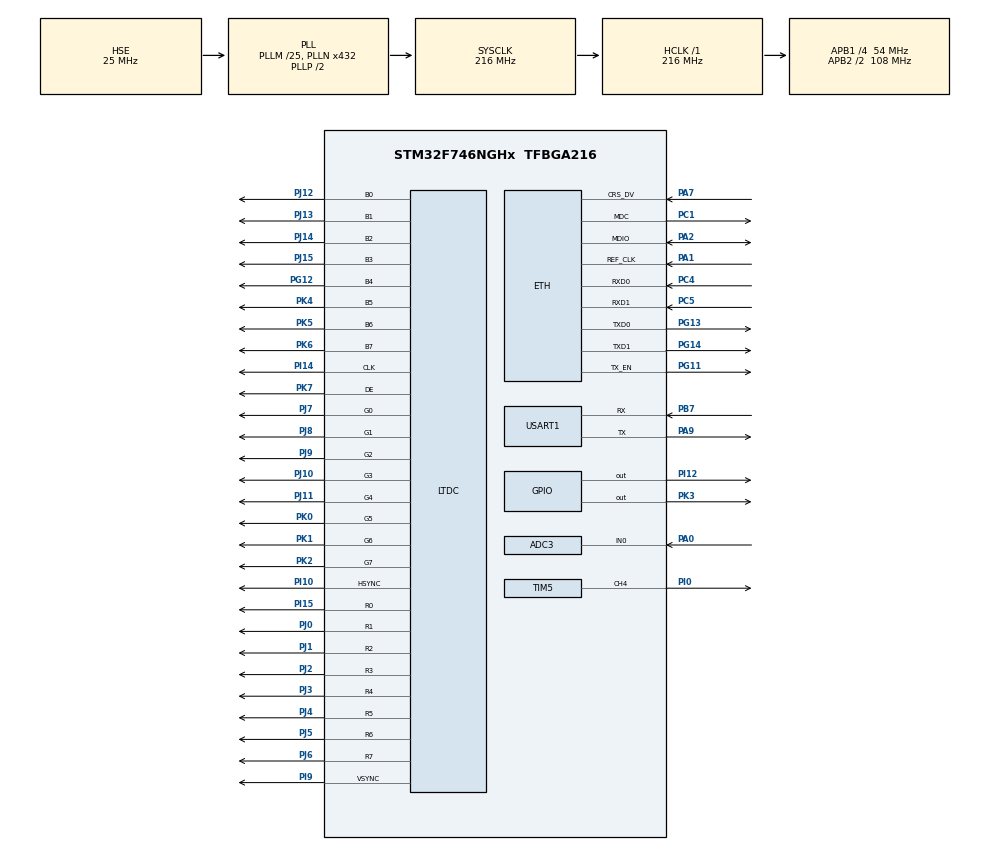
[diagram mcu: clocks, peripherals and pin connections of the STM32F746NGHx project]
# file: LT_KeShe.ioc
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ADC3.Channel-0\#ChannelRegularConversion=ADC_CHANNEL_0
ADC3.ClockPrescaler=ADC_CLOCK_SYNC_PCLK_DIV4
ADC3.DMAContinuousRequests=ENABLE
ADC3.ExternalTrigConv=ADC_EXTERNALTRIGCONV_T2_CC2
ADC3.InjNumberOfConversion=0
ADC3.NbrOfConversionFlag=1
ADC3.Rank-0\#ChannelRegularConversion=1
ADC3.SamplingTime-0\#ChannelRegularConversion=ADC_SAMPLETIME_144CYCLES
CORTEX_M7.default_mode_Activation=1
Dma.ADC3.0.Direction=DMA_PERIPH_TO_MEMORY
Dma.ADC3.0.FIFOMode=DMA_FIFOMODE_DISABLE
Dma.ADC3.0.Instance=DMA2_Stream0
Dma.ADC3.0.MemDataAlignment=DMA_MDATAALIGN_HALFWORD
Dma.ADC3.0.MemInc=DMA_MINC_ENABLE
Dma.ADC3.0.Mode=DMA_CIRCULAR
Dma.ADC3.0.PeriphDataAlignment=DMA_PDATAALIGN_HALFWORD
Dma.ADC3.0.PeriphInc=DMA_PINC_DISABLE
Dma.ADC3.0.Priority=DMA_PRIORITY_HIGH
Dma.Request0=ADC3
ETH.MACAddr=00\:80\:E1\:4C\:54\:01
ETH.MediaInterface=HAL_ETH_RMII_MODE
FREERTOS.Tasks01=defaultTask,24,512,StartDefaultTask,Default,NULL,Dynamic,NULL,NULL
FREERTOS.configTOTAL_HEAP_SIZE=32768
LTDC.ActiveH=272
LTDC.ActiveW=480
LTDC.Alpha_L0=255
LTDC.FBStartAdress_L0=0x20010400
LTDC.HBP=13
LTDC.HFP=32
LTDC.HSync=41
LTDC.ImageHeight_L0=272
LTDC.ImageWidth_L0=480
LTDC.Layers=0
LTDC.PixelFormat_L0=LTDC_PIXEL_FORMAT_RGB565
LTDC.VSync=10
LTDC.WindowX1_L0=480
LTDC.WindowY1_L0=272
LWIP.BSP.number=1
LWIP.IP_ADDRESS=192.168.001.010
LWIP.LWIP_DHCP=0
LWIP.LWIP_NETIF_STATUS_CALLBACK=1
LWIP.MEM_SIZE=8192
LWIP.NETMASK_ADDRESS=255.255.255.000
LWIP.Version=v2.1.2_Cube
LWIP0.BSP.STBoard=false
LWIP0.BSP.api=BSP_COMPONENT_DRIVER
LWIP0.BSP.component=LAN8742
LWIP0.BSP.instance=LAN8742
LWIP0.BSP.name=Driver_PHY
LWIP0.BSP.semaphore=S_LAN8742
LWIP0.BSP.solution=LAN8742
Mcu.Family=STM32F7
Mcu.Name=STM32F746NGHx
Mcu.Package=TFBGA216
NVIC.DMA2_Stream0_IRQn=true\:5\:0\:false\:false\:true\:true\:false\:true\:true
NVIC.ETH_IRQn=true\:5\:0\:true\:false\:true\:true\:true\:true\:true
NVIC.PriorityGroup=NVIC_PRIORITYGROUP_4
NVIC.TIM5_IRQn=true\:5\:0\:false\:false\:true\:true\:true\:true\:true
NVIC.TIM6_DAC_IRQn=true\:15\:0\:false\:false\:true\:false\:false\:true\:true
NVIC.TimeBase=TIM6_DAC_IRQn
NVIC.TimeBaseIP=TIM6
NVIC.USART1_IRQn=true\:5\:0\:true\:false\:true\:true\:true\:true\:true
PA0/WKUP.Signal=ADCx_IN0
PA1.Mode=RMII
PA1.Signal=ETH_REF_CLK
PA13.Mode=Trace_Asynchronous_SW
PA13.Signal=SYS_JTMS-SWDIO
PA14.Mode=Trace_Asynchronous_SW
PA14.Signal=SYS_JTCK-SWCLK
PA2.Mode=RMII
PA2.Signal=ETH_MDIO
PA7.Mode=RMII
PA7.Signal=ETH_CRS_DV
PA9.Mode=Asynchronous
PA9.Signal=USART1_TX
PB3.Mode=Trace_Asynchronous_SW
PB3.Signal=SYS_JTDO-SWO
PB7.Mode=Asynchronous
PB7.Signal=USART1_RX
PC1.Mode=RMII
PC1.Signal=ETH_MDC
PC4.Mode=RMII
PC4.Signal=ETH_RXD0
PC5.Mode=RMII
PC5.Signal=ETH_RXD1
PG11.Mode=RMII
PG11.Signal=ETH_TX_EN
PG12.Mode=RGB888
PG12.Signal=LTDC_B4
PG13.Mode=RMII
PG13.Signal=ETH_TXD0
PG14.Mode=RMII
PG14.Signal=ETH_TXD1
PH0/OSC_IN.Mode=HSE-External-Oscillator
PH0/OSC_IN.Signal=RCC_OSC_IN
PH1/OSC_OUT.Mode=HSE-External-Oscillator
PH1/OSC_OUT.Signal=RCC_OSC_OUT
PI0.Signal=S_TIM5_CH4
PI10.Mode=RGB888
PI10.Signal=LTDC_HSYNC
PI12.PinState=GPIO_PIN_SET
PI12.Signal=GPIO_Output
PI14.Mode=RGB888
PI14.Signal=LTDC_CLK
PI15.Mode=RGB888
PI15.Signal=LTDC_R0
PI9.Mode=RGB888
PI9.Signal=LTDC_VSYNC
PJ0.Mode=RGB888
PJ0.Signal=LTDC_R1
PJ1.Mode=RGB888
PJ1.Signal=LTDC_R2
PJ10.Mode=RGB888
PJ10.Signal=LTDC_G3
PJ11.Mode=RGB888
PJ11.Signal=LTDC_G4
PJ12.Mode=RGB888
PJ12.Signal=LTDC_B0
PJ13.Mode=RGB888
PJ13.Signal=LTDC_B1
PJ14.Mode=RGB888
PJ14.Signal=LTDC_B2
PJ15.Mode=RGB888
PJ15.Signal=LTDC_B3
PJ2.Mode=RGB888
PJ2.Signal=LTDC_R3
PJ3.Mode=RGB888
PJ3.Signal=LTDC_R4
PJ4.Mode=RGB888
PJ4.Signal=LTDC_R5
PJ5.Mode=RGB888
PJ5.Signal=LTDC_R6
PJ6.Mode=RGB888
PJ6.Signal=LTDC_R7
PJ7.Mode=RGB888
PJ7.Signal=LTDC_G0
PJ8.Mode=RGB888
PJ8.Signal=LTDC_G1
PJ9.Mode=RGB888
PJ9.Signal=LTDC_G2
PK0.Mode=RGB888
PK0.Signal=LTDC_G5
PK1.Mode=RGB888
PK1.Signal=LTDC_G6
PK2.Mode=RGB888
PK2.Signal=LTDC_G7
PK3.PinState=GPIO_PIN_SET
PK3.Signal=GPIO_Output
PK4.Mode=RGB888
PK4.Signal=LTDC_B5
PK5.Mode=RGB888
PK5.Signal=LTDC_B6
PK6.Mode=RGB888
PK6.Signal=LTDC_B7
PK7.Mode=RGB888
PK7.Signal=LTDC_DE
ProjectManager.HeapSize=0x200
ProjectManager.StackSize=0x400
ProjectManager.TargetToolchain=EWARM V8.32
RCC.AHBFreq_Value=216000000
RCC.APB1CLKDivider=RCC_HCLK_DIV4
RCC.APB1Freq_Value=54000000
RCC.APB1TimFreq_Value=108000000
RCC.APB2CLKDivider=RCC_HCLK_DIV2
RCC.APB2Freq_Value=108000000
RCC.APB2TimFreq_Value=216000000
RCC.CortexFreq_Value=216000000
RCC.HCLKFreq_Value=216000000
RCC.HSE_VALUE=25000000
RCC.HSI_VALUE=16000000
RCC.LSE_VALUE=32768
RCC.PLLM=25
RCC.PLLN=432
RCC.PLLSAIR=5
RCC.PLLSAIRDiv=RCC_PLLSAIDIVR_4
RCC.PLLSourceVirtual=RCC_PLLSOURCE_HSE
RCC.SYSCLKFreq_VALUE=216000000
RCC.SYSCLKSource=RCC_SYSCLKSOURCE_PLLCLK
RCC.USBFreq_Value=216000000
RCC.VCOOutputFreq_Value=432000000
SH.ADCx_IN0.0=ADC3_IN0,IN0
SH.S_TIM5_CH4.0=TIM5_CH4,PWM Generation4 CH4
TIM2.AutoReloadPreload=TIM_AUTORELOAD_PRELOAD_ENABLE
TIM2.Channel-PWM\ Generation2\ No\ Output=TIM_CHANNEL_2
TIM2.Period=1124
TIM2.Pulse-PWM\ Generation2\ No\ Output=562
TIM2.TIM_MasterOutputTrigger=TIM_TRGO_OC2REF
TIM5.AutoReloadPreload=TIM_AUTORELOAD_PRELOAD_ENABLE
TIM5.Channel-PWM\ Generation4\ CH4=TIM_CHANNEL_4
TIM5.Period=108000000-1
TIM5.Prescaler=0
TIM5.Pulse-PWM\ Generation4\ CH4=54000000
USART1.VirtualMode-Asynchronous=VM_ASYNC
VP_FREERTOS_VS_CMSIS_V2.Mode=CMSIS_V2
VP_LWIP_VS_Enabled.Mode=Enabled
VP_SYS_VS_tim6.Mode=TIM6
VP_TIM2_VS_ClockSourceINT.Mode=Internal
VP_TIM2_VS_no_output2.Mode=PWM Generation2 No Output
VP_TIM5_VS_ClockSourceINT.Mode=Internal
board=custom

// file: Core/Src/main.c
/* USER CODE BEGIN Header */
/**
  ******************************************************************************
  * @file           : main.c
  * @brief          : Main program body
  ******************************************************************************
  * @attention
  *
  * Copyright (c) 2026 STMicroelectronics.
  * All rights reserved.
  *
  * This software is licensed under terms that can be found in the LICENSE file
  * in the root directory of this software component.
  * If no LICENSE file comes with this software, it is provided AS-IS.
  *
  ******************************************************************************
  */
/* USER CODE END Header */
#include "main.h"
#include "cmsis_os.h"
#include "adc.h"
#include "dma.h"
#include "ltdc.h"
#include "lwip.h"
#include "tim.h"
#include "usart.h"
#include "gpio.h"

/* USER CODE BEGIN Includes */
#include "disp.h"
#include "mic.h"
#include <string.h>
/* USER CODE END Includes */

void SystemClock_Config(void);
static void MPU_Config(void);
void MX_FREERTOS_Init(void);

  int main(void)
{

  /* MPU Configuration--------------------------------------------------------*/
  MPU_Config();

  /* MCU Configuration--------------------------------------------------------*/

  /* Reset of all peripherals, Initializes the Flash interface and the Systick. */
  HAL_Init();

  /* Configure the system clock */
  SystemClock_Config();

  /* Initialize all configured peripherals */
  MX_GPIO_Init();
  MX_DMA_Init();
  MX_USART1_UART_Init();
  MX_TIM5_Init();
  MX_ADC3_Init();
  MX_TIM2_Init();
  MX_LTDC_Init();
  /* USER CODE BEGIN 2 */
  /* 显示初始化放在这里（MX_LTDC_Init 之后、启动调度器之前）：
     帧缓冲在内部 RAM 的 L8（0x20020000），一开机就把图层和调色板改好，
     避免 CubeMX 默认图层（RGB565 @ 0x20010400）先扫出几帧花屏。 */
  disp_init();
  /* 采样也在这里启动：不依赖 StartDefaultTask 是否被 LwIP 卡住。
     HAL_ADC_Start_DMA / HAL_TIM_Base_Start 都是纯寄存器操作，调度器起来之前调用安全。 */
  mic_init();

  /* ---- PI0（Arduino D5）= TIM5_CH4 的 1Hz 脉冲怎么处理 -------------------
     模块 4P 座的 "D5" 就是 PI0。把模块的 DO 插上去，我们的 1Hz PWM 会反灌
     模块的比较器，导致 LED1 以 1Hz 规律闪烁（跟声音无关）。

     这里默认把 PI0 释放成浮空输入（等价于"把 DO 悬空"），模块的 DO 就自由了。
     ⚠ 代价：第一步验收用的 1Hz 整秒脉冲不再输出。做 ±10µs 示波器测试时，
        把下面的宏改成 1 重新编译即可恢复（脉冲仍由 TIM5_CH4 硬件生成）。 */
#define LT_PULSE_ON_PI0   1
#if (LT_PULSE_ON_PI0 == 0)
  {
    GPIO_InitTypeDef g;
    (void)memset(&g, 0, sizeof(g));
    (void)HAL_TIM_PWM_Stop(&htim5, TIM_CHANNEL_4);
    g.Pin = GPIO_PIN_0;
    g.Mode = GPIO_MODE_INPUT;
    g.Pull = GPIO_NOPULL;
    HAL_GPIO_Init(GPIOI, &g);
  }
#endif
  {
    /* 中断优先级：在代码里设，绕开 CubeMX 对 NVIC 下拉框的限制。

       CubeMX 使能 FreeRTOS 后会把 NVIC 可选范围压到
       LIBRARY_MAX_SYSCALL_INTERRUPT_PRIORITY(=5) 及以上，但 TIM5 必须是 3：
       lt_now_us()/lt_now_cnt() 在"整秒标志已置起但 TIM5 中断尚未执行"时会重读，
       这要求 TIM5 能抢占调用它的中断（ETH=5、DMA2_Stream0=4），否则永远等下去。
       放在这里覆盖 tim.c / dma.c 里的生成值，重新生成代码也不会丢。 */
    HAL_NVIC_SetPriority(TIM5_IRQn, 3, 0);
    HAL_NVIC_SetPriority(DMA2_Stream0_IRQn, 4, 0);
  }
  {
    static const char lt_boot[] = "\r\n[LT] boot ok: USART1 ready\r\n";
    (void)HAL_UART_Transmit(&huart1, (uint8_t *)lt_boot, sizeof(lt_boot) - 1U, 200U);
  }

  /* USER CODE END 2 */

  /* Init scheduler */
  osKernelInitialize();  /* Call init function for freertos objects (in cmsis_os2.c) */
  MX_FREERTOS_Init();

  /* Start scheduler */
  osKernelStart();

  /* We should never get here as control is now taken by the scheduler */

  /* Infinite loop */
  while (1)
  {

  }
}

void SystemClock_Config(void)
{
  RCC_OscInitTypeDef RCC_OscInitStruct = {0};
  RCC_ClkInitTypeDef RCC_ClkInitStruct = {0};

  /** Configure the main internal regulator output voltage
  */
  __HAL_RCC_PWR_CLK_ENABLE();
  __HAL_PWR_VOLTAGESCALING_CONFIG(PWR_REGULATOR_VOLTAGE_SCALE1);

  /** Initializes the RCC Oscillators according to the specified parameters
  * in the RCC_OscInitTypeDef structure.
  */
  RCC_OscInitStruct.OscillatorType = RCC_OSCILLATORTYPE_HSE;
  RCC_OscInitStruct.HSEState = RCC_HSE_ON;
  RCC_OscInitStruct.PLL.PLLState = RCC_PLL_ON;
  RCC_OscInitStruct.PLL.PLLSource = RCC_PLLSOURCE_HSE;
  RCC_OscInitStruct.PLL.PLLM = 25;
  RCC_OscInitStruct.PLL.PLLN = 432;
  RCC_OscInitStruct.PLL.PLLP = RCC_PLLP_DIV2;
  RCC_OscInitStruct.PLL.PLLQ = 2;
  if (HAL_RCC_OscConfig(&RCC_OscInitStruct) != HAL_OK)
  {
    Error_Handler();
  }

  /** Activate the Over-Drive mode
  */
  if (HAL_PWREx_EnableOverDrive() != HAL_OK)
  {
    Error_Handler();
  }

  /** Initializes the CPU, AHB and APB buses clocks
  */
  RCC_ClkInitStruct.ClockType = RCC_CLOCKTYPE_HCLK|RCC_CLOCKTYPE_SYSCLK
                              |RCC_CLOCKTYPE_PCLK1|RCC_CLOCKTYPE_PCLK2;
  RCC_ClkInitStruct.SYSCLKSource = RCC_SYSCLKSOURCE_PLLCLK;
  RCC_ClkInitStruct.AHBCLKDivider = RCC_SYSCLK_DIV1;
  RCC_ClkInitStruct.APB1CLKDivider = RCC_HCLK_DIV4;
  RCC_ClkInitStruct.APB2CLKDivider = RCC_HCLK_DIV2;

  if (HAL_RCC_ClockConfig(&RCC_ClkInitStruct, FLASH_LATENCY_7) != HAL_OK)
  {
    Error_Handler();
  }
}

 /* MPU Configuration */

void MPU_Config(void)
{
  MPU_Region_InitTypeDef MPU_InitStruct = {0};

  /* Disables the MPU */
  HAL_MPU_Disable();

  /** Initializes and configures the Region and the memory to be protected
  */
  MPU_InitStruct.Enable = MPU_REGION_ENABLE;
  MPU_InitStruct.Number = MPU_REGION_NUMBER0;
  MPU_InitStruct.BaseAddress = 0x0;
  MPU_InitStruct.Size = MPU_REGION_SIZE_4GB;
  MPU_InitStruct.SubRegionDisable = 0x87;
  MPU_InitStruct.TypeExtField = MPU_TEX_LEVEL0;
  MPU_InitStruct.AccessPermission = MPU_REGION_NO_ACCESS;
  MPU_InitStruct.DisableExec = MPU_INSTRUCTION_ACCESS_DISABLE;
  MPU_InitStruct.IsShareable = MPU_ACCESS_SHAREABLE;
  MPU_InitStruct.IsCacheable = MPU_ACCESS_NOT_CACHEABLE;
  MPU_InitStruct.IsBufferable = MPU_ACCESS_NOT_BUFFERABLE;

  HAL_MPU_ConfigRegion(&MPU_InitStruct);
  /* Enables the MPU */
  HAL_MPU_Enable(MPU_PRIVILEGED_DEFAULT);

}

void HAL_TIM_PeriodElapsedCallback(TIM_HandleTypeDef *htim)
{
  if (htim->Instance == TIM6)
  {
    HAL_IncTick();
  }
  /* USER CODE BEGIN Callback 1 */

  /* TIM5 每秒溢出一次：这就是本地时间基准的整秒边界，
     同时也是整秒脉冲（PI0）上升沿的产生时刻 */
  if (htim->Instance == TIM5)
  {
    lt_inc_second();
  }

  /* USER CODE END Callback 1 */
}

void Error_Handler(void)
{
  /* USER CODE BEGIN Error_Handler_Debug */
  /* User can add his own implementation to report the HAL error return state */
  {
    static const char lt_err[] = "\r\n[LT] Error_Handler reached\r\n";
    (void)HAL_UART_Transmit(&huart1, (uint8_t *)lt_err, sizeof(lt_err) - 1U, 100U);
  }
  __disable_irq();
  /* 串口可能看不到，用 LD1(PI1) 快闪表示"某个外设初始化失败"。
     关中断后 HAL_Delay 不能用，用空循环延时。 */
  {
    GPIO_InitTypeDef g;
    (void)memset(&g, 0, sizeof(g));
    __HAL_RCC_GPIOI_CLK_ENABLE();
    g.Pin = GPIO_PIN_1;
    g.Mode = GPIO_MODE_OUTPUT_PP;
    HAL_GPIO_Init(GPIOI, &g);
    for (;;)
    {
      volatile uint32_t d;
      HAL_GPIO_TogglePin(GPIOI, GPIO_PIN_1);
      for (d = 0u; d < 3000000u; d++) { }
    }
  }
  /* USER CODE END Error_Handler_Debug */
}

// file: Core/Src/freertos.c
/* USER CODE BEGIN Header */
/**
  ******************************************************************************
  * File Name          : freertos.c
  * Description        : Code for freertos applications
  ******************************************************************************
  * @attention
  *
  * Copyright (c) 2026 STMicroelectronics.
  * All rights reserved.
  *
  * This software is licensed under terms that can be found in the LICENSE file
  * in the root directory of this software component.
  * If no LICENSE file comes with this software, it is provided AS-IS.
  *
  ******************************************************************************
  */
/* USER CODE END Header */

#include "FreeRTOS.h"
#include "task.h"
#include "main.h"
#include "cmsis_os.h"

/* USER CODE BEGIN Includes */
#include "lwip/sockets.h"
#include "lwip/inet.h"
#include "lwip/netif.h"      /* 用来查链路状态 netif_is_link_up() */
#include <string.h>
#include <stdio.h>
#include <stdarg.h>
#include "usart.h"
#include "tim.h"
#include "mic.h"
#include "disp.h"

/* USER CODE END Includes */

/* USER CODE BEGIN PTD */

/* 时间戳交换协议的报文，定长 28 字节。
   四个时间戳都只带低 32 位微秒：一次交换在毫秒内完成，四个时刻相距极近，
   32 位无符号减法本身就是回绕安全的，不需要 64 位。 */
typedef struct
{
  uint8_t  type;    /* 1=SYNC(主板->从板) 2=DREQ(从板->主板) 3=DRESP(主板->从板) */
  uint8_t  pad[3];
  uint32_t seq;
  uint32_t t1;      /* 主板发 SYNC 的时刻（主板时钟） */
  uint32_t t2;      /* 从板收 SYNC 的时刻（从板时钟） */
  uint32_t t3;      /* 从板发 DREQ 的时刻（从板时钟） */
  uint32_t t4;      /* 主板收 DREQ 的时刻（主板时钟） */
  int32_t  off_m;   /* 主板算出的偏移，由 DRESP 带回给从板（伺服用它）*/
  uint32_t dly_m;
} lt_msg_t;

/* USER CODE END PTD */

/* USER CODE BEGIN PD */
#define LT_PORT             5000U   /* 本板与对端统一使用这个 UDP 端口 */
#define LT_REPORT_PERIOD_MS 2000U   /* 串口统计打印周期 */
#define LT_SYNC_PERIOD_MS   100U    /* 主板发起一次测量的周期 */
#define LT_MAX_SAMPLES      512U    /* 回归窗口长度（样本数，约 51 秒）*/
#define LT_DELAY_MARGIN_US  20U     /* 回归的时延筛选余量，与伺服判据保持一致。
                                       原来放 300us 太松，会把被打印扰动过的样本
                                       （只高出约 95us）也放进来，它们的偏移会把
                                       速率估计带偏，进而让 ARR 修正量错一个量级。 */
#define LT_MSG_SYNC         1U
#define LT_MSG_DREQ         2U
#define LT_MSG_DRESP        3U
#define LT_DLY_ACCEPT_US    20U
#define LT_CONV_LIMIT_MS    30000U  /* 收敛时限：任务书要求 30 秒 */
#define LT_CONV_BAND_US     10      /* 判据带 = 任务书指标 ±10us（也是手工测量口径）。
                                       原来放 30us：偏差还有一二十微秒时就宣告收敛，
                                       与"收敛到 10us 以内"不是一回事，会误报提前。 */
#define LT_CONV_HOLD_MS     10000U  /* 要连续保持这么久才算收敛（与验收"连续 10 次"
                                       对应：脉冲是 1Hz，连续 10 次测量就是 10 秒）*/
#define LT_CONV_MIN_SAMP    20U     /* 这段稳定期里至少要有这么多干净样本，
                                       防止"样本被剔光、等于没判"也算稳定 */

/* ---- ARR（频率）环路的积分参数 ---------------------------------------------
   详见 lt_servo() 里的说明：频率修正要"锁得住"，否则相位环路必须长期硬扛
   速率差，稳态滞后会把两板间距顶到 10us 以上，收敛就快不了。 */
#define LT_ARR_INT_GAIN     50      /* 积分增益：每 1us 相位偏差，每拍给 ARR 加 50 计数。
                                       实测这组值能满足题目要求（30 秒内收敛到 ±10us
                                       以内），不要再往上加：ARR 每秒才生效一次，
                                       增益再大（100/150）会过冲、摆动变大 */
#define LT_ARR_INT_STEP_MAX 170     /* 每拍最多累加 170 计数（约 1.6ppm，即 16ppm/秒）：
                                       单个脏样本最多把周期拉走这么点，环路自己纠得回 */
#define LT_ARR_INT_RANGE_US 25      /* 偏差超过 ±25us 时先不碰频率：相位没拉回之前积分
                                       不参与，避免粗捕获阶段把积分冲爆（饱和） */
/* 单点标定值（微秒）：抵消两块板软件延时不对称带来的固定偏差。
   标定方法：系统跑起来后，用示波器量两个脉冲沿的间距（设为 S，从板在前取正），
   同时读串口上主板那行的 off（设为 M），则本值取 (M - S)。
   例如主板 off 显示 +45、示波器量到 26，本值填 19。 */
/* 单点标定值（微秒）：抵消协议测量与示波器真值之间的固定偏差。
   实验数据：CAL=0 时示波器间距 16.2us，CAL=+5 时 21.2us，
   即 间距 = CAL + 16.2，斜率 +1。故取 CAL = -16 可把间距推到 0。
   若实测与预期不符，按 新CAL = 旧CAL - 实测间距 修正。 */
#define LT_OFF_CAL_US       (-16)

/* 致动器验证模式。置 1 时不做闭环伺服，而是每 10 秒给本地时钟一个固定的
   +100us 相位拨动。用示波器看脉冲间距：若呈 100us 台阶的锯齿状，说明
   "拨动 -> 时钟 -> 脉冲"这条通路是通的，问题在控制器；若纹丝不动，
   说明拨动没有真正作用到脉冲上。 */
#define LT_NUDGE_TEST       0
/* 对端 IP 不写死：在 lt_start() 里按本板 IP 自动推导，两块板可烧同一份固件 */

/* USER CODE END PD */

/* USER CODE BEGIN Variables */
static int lt_sock = -1;
static volatile uint32_t lt_dly_from_master = 0U;
static volatile uint32_t lt_servo_skip = 0U;
static volatile int32_t lt_off_clean = 0;
static struct sockaddr_in lt_peer;
extern uint8_t IP_ADDRESS[4];              /* 定义在 lwip.c，本板的 IPv4 地址 */
extern struct netif gnetif;                /* 定义在 lwip.c，查链路是否建立用它 */
static uint8_t  lt_link_announced = 0U;    /* "链路建立"那行只打印一次 */

/* --- 收敛计时：上电到两板时钟真正对齐所用的时间 ---
   两端都取物理时刻，不取"判定成立"的时刻：

     起点：通信建立（首次收到对方报文）。不用上电时刻，是因为两块板不是同时
       上电的，先上电的那块会把自己等待另一块板、等 PHY 自协商的时间也算进去，
       两块板报出来的数就会差一个上电时差。以"能通上话"为起点，两块板量到的
       是同一件事，而且这正是同步算法真正开始工作的时刻。
       不过上电到收敛那个数也一起打出来，方便与任务书的表述对照。
     终点：判据量的"稳定期"起点。收敛定义 = 偏差进 ±LT_CONV_BAND_US 带内
       且连续保持 LT_CONV_HOLD_MS（10 秒）不出去（期间至少 LT_CONV_MIN_SAMP 个
       干净样本）——这样才排除掉"锁上一次又被频率环路拉出去"的假收敛。
       物理上两板是在这段稳定期的起点真正收敛到 ±10us 以内的，
       所以用时取这个起点，不取"判定成立"的时刻（后者还要多等 10 秒）。 */
static volatile uint32_t lt_conv_boot_ms = 0U;   /* 本板上电时刻（近似）*/
static volatile uint32_t lt_conv_comm_ms = 0U;   /* 通信建立时刻（首次收到对方报文）*/
static volatile uint8_t  lt_conv_comm_up = 0U;   /* 1 = 通信已建立 */
static volatile uint8_t  lt_conv_ok      = 0U;   /* 1 = 已收敛 */
static volatile uint32_t lt_conv_ms_comm = 0U;   /* 收敛用时：通信建立 -> 对齐 */
static volatile uint32_t lt_conv_ms_pwr  = 0U;   /* 收敛用时：本板上电 -> 对齐 */
static uint32_t lt_conv_t_first_ms = 0U;         /* 本段首个进带样本的时刻 */
static uint32_t lt_conv_streak     = 0U;         /* 连续在带内的干净样本数 */
static uint8_t  lt_conv_announced  = 0U;         /* 成功提示只打印一次 */

static uint8_t  lt_is_master = 0U;   /* 1=主板（时间基准，自己的时钟不动）*/
static uint32_t lt_seq       = 0U;   /* 主板发起测量的序号 */
static uint32_t lt_cur_seq   = 0U;   /* 从板：当前正在处理的测量序号 */
static uint32_t lt_t1 = 0U;          /* 主板：发 SYNC 的时刻 */
static uint32_t lt_t2 = 0U;          /* 从板：收 SYNC 的时刻 */
static uint32_t lt_t3 = 0U;          /* 从板：发 DREQ 的时刻 */

static uint32_t lt_mes_ok  = 0U;     /* 完成的测量次数 */
static uint32_t lt_mes_bad = 0U;     /* 被丢弃的测量次数 */
static volatile int32_t  lt_cur_off_us = 0;    /* 最近一次偏移（从板 - 主板）*/
static volatile uint32_t lt_cur_dly_us = 0U;   /* 最近一次往返时延 */
static volatile int32_t  lt_slope_ppb  = 0;    /* 回归得到的频率差 */
static volatile uint32_t lt_win_cnt    = 0U;   /* 参与回归的样本数 */
static volatile int32_t  lt_min_dly_us = 0;    /* 窗口内最小往返时延 */
static uint32_t lt_arr_nominal = 0U;           /* TIM5 名义 ARR（每秒计数个数 - 1）*/
static int32_t  lt_arr_delta   = 0;            /* 当前施加的频率修正量，单位计数 */

/* --- 诊断用：把最近一次交换的四个原始时间戳打印出来，便于两块板逐字段对照 --- */
static volatile uint32_t lt_rx_msgs = 0U;      /* 收到的报文数 */
static volatile uint32_t lt_dbg_seq = 0U;
static volatile uint32_t lt_dbg_t1 = 0U, lt_dbg_t2 = 0U, lt_dbg_t3 = 0U, lt_dbg_t4 = 0U;
static int32_t lt_phase_total_us = 0;   /* 伺服累计拨动了多少微秒（诊断用）*/

/* 样本窗口：index 0 最旧，按时间先后排列。
   时刻用毫秒存，避免后面做回归时数字太大溢出。 */
static int32_t  lt_s_off[LT_MAX_SAMPLES];
static uint32_t lt_s_dly[LT_MAX_SAMPLES];
static uint32_t lt_s_t[LT_MAX_SAMPLES];
static uint32_t lt_s_cnt = 0U;

static const osThreadAttr_t lt_tx_attr = {
  .name = "ltTx",
  .stack_size = 512 * 4,
  /* 打印任务必须比接收任务低。
     串口打印是阻塞式轮询，一次约 13ms；如果和接收任务同优先级，时间片轮转
     会在这 13ms 里把接收任务切走，而接收任务"收 SYNC -> 记 t2 -> 发 DREQ"
     是被切在中间就变成 DREQ 发送延迟增加约 95us，直接污染 dly 和 off。
     降到 Normal 后接收任务随时抢占，样本就干净了。 */
  .priority = (osPriority_t)osPriorityNormal,
};
static const osThreadAttr_t lt_rx_attr = {
  .name = "ltRx",
  .stack_size = 512 * 4,
  .priority = (osPriority_t)osPriorityAboveNormal,
};

/* 麦克风采样处理任务：栈 512 字（2KB）、优先级 Normal。
   必须低于 ltRx(AboveNormal)——串口打印是阻塞式轮询、一次几毫秒，抢了 ETH
   接收任务的优先级会把第一步压干净的 dly 又污染掉（文档 02 的 E4）。 */
static const osThreadAttr_t mic_attr = {
  .name = "micTask",
  .stack_size = 512 * 4,
  .priority = (osPriority_t)osPriorityNormal,
};

/* 显示任务：20fps 刷屏，优先级放在 micTask 之下——画屏只是"看"，不能影响
   采样处理与以太网接收。 */
static const osThreadAttr_t disp_attr = {
  .name = "dispTask",
  .stack_size = 512 * 4,
  .priority = (osPriority_t)osPriorityBelowNormal,
};

/* USER CODE END Variables */
/* Definitions for defaultTask */
osThreadId_t defaultTaskHandle;
const osThreadAttr_t defaultTask_attributes = {
  .name = "defaultTask",
  .stack_size = 512 * 4,
  .priority = (osPriority_t) osPriorityNormal,
};

/* USER CODE BEGIN FunctionPrototypes */
static void lt_log(const char *fmt, ...);
static void lt_start(void);
static void lt_tx_task(void *argument);
static void lt_rx_task(void *argument);
static void lt_push_sample(int32_t off_us, uint32_t dly_us, uint32_t t_ms);
static void lt_run_regression(void);
static void lt_servo(int32_t off_us);
static void lt_conv_push(int32_t off_us);
static void lt_conv_report(void);
static volatile int32_t lt_off_from_master = 0;   /* 主板算出的偏移 */
static volatile int32_t lt_servo_in = 0;          /* 伺服实际收到的输入（诊断用）*/
static volatile int32_t lt_step_effect = 0;       /* 拨动命令实际使时钟移动了多少（应为 -step）*/

/* USER CODE END FunctionPrototypes */

void StartDefaultTask(void *argument);

extern void MX_LWIP_Init(void);
void MX_FREERTOS_Init(void); /* (MISRA C 2004 rule 8.1) */

void MX_FREERTOS_Init(void) {

  /* Create the thread(s) */
  /* creation of defaultTask */
  defaultTaskHandle = osThreadNew(StartDefaultTask, NULL, &defaultTask_attributes);

  /* USER CODE BEGIN RTOS_THREADS */
  {
    /* 麦克风采样处理任务（mic.c）与显示任务（disp.c）。
       把创建结果和剩余堆打出来：若显示任务创建失败，屏幕会停在开机那一帧。 */
    osThreadId_t h_mic = osThreadNew(mic_task, NULL, &mic_attr);
    osThreadId_t h_dsp = osThreadNew(disp_task, NULL, &disp_attr);

    lt_log("[RTOS] mic %s  disp %s  heap %lu\r\n",
           (h_mic != NULL) ? "ok" : "FAIL",
           (h_dsp != NULL) ? "ok" : "FAIL",
           (unsigned long)xPortGetFreeHeapSize());
  }
  /* USER CODE END RTOS_THREADS */

}

void StartDefaultTask(void *argument)
{
  /* init code for LWIP */
  MX_LWIP_Init();
  /* USER CODE BEGIN StartDefaultTask */
  /* 记下本板上电时刻（近似）。取在 MX_LWIP_Init() 之后，比真正的上电晚
     几十毫秒——初始化本身的开销，相对 30 秒的预算可以忽略。 */
  lt_conv_boot_ms = HAL_GetTick();
  lt_start();   /* 启动链路自检；第二步会替换成正式的通信任务 */
  /* Infinite loop */
  for(;;)
  {
    osDelay(1000);
  }
  /* USER CODE END StartDefaultTask */
}

/* USER CODE BEGIN Application */

/* 串口打印：直接走 USART1，不依赖 printf 重定向 */
static void lt_log(const char *fmt, ...)
{
  char buf[192];
  va_list ap;
  int n;

  va_start(ap, fmt);
  n = vsnprintf(buf, sizeof(buf), fmt, ap);
  va_end(ap);

  if (n > 0)
  {
    if (n > (int)(sizeof(buf) - 1U))
    {
      n = (int)(sizeof(buf) - 1U);
    }
    (void)HAL_UART_Transmit(&huart1, (uint8_t *)buf, (uint16_t)n, 200U);
  }
}

/* ---- 时间戳交换协议 --------------------------------------------------------
   三条定长报文，一个来回：

     主板 --SYNC {seq,t1}------> 从板      从板在中断里记下 t2
     从板 --DREQ {seq,t2,t3}---> 主板      主板在中断里记下 t4
     主板 --DRESP{seq,t4}------> 从板      从板由此凑齐 t1..t4

   两边各自算：
     偏移  off = ((t2 - t1) - (t4 - t3)) / 2     从板时钟比主板快多少
     往返  dly =  (t4 - t1) - (t3 - t2)

   off 的来历：t2-t1 是"去程时间 + 时钟偏移"，t4-t3 是"回程时间 - 时钟偏移"，
   两者相减，去程回程抵消，剩下两倍偏移。这是 NTP 与 PTP 共用的原理，协议本
   身是自己定的，与标准 PTP 无关。

   t1、t3 是发送前在任务里打的（偏早），t2、t4 是在以太网中断里打的（偏晚）。
   两条偏差方向相反，而两块板跑同一份代码、大小相近，在差值里基本抵消；剩下
   的随机抖动靠多样本回归和按时延筛选压掉。
   -------------------------------------------------------------------------- */

/* 把一次测量结果放进窗口，并重新算一次回归 */
/* ---- 伺服 ------------------------------------------------------------------
   只在从板上运行。主板是全系统的时间基准，它自己的时钟一根手指都不动。

   修正分两件事，缺一不可：

     频率修正（治本）——把相位偏差"积分"成速率修正，改 TIM5 的 ARR。
       ARR 每加一个计数，一秒就变长 9.26ns，也就是速率减慢 9.26ppb。
       把速率差纠掉之后，相位才不会一直往外漂，相位环路也就不必长期
       硬扛漂移（那是收敛慢的根子，详见下面 ①）。

     相位修正（治标）——把已经积累的偏差直接拨回去。
       只做频率不做相位，要等很久偏差才会自己回来；
       只做相位不做频率，偏差会一直漂、要反复拉。
   -------------------------------------------------------------------------- */

/* 每次测量后执行一遍。off_us = 从板时钟 - 主板时钟。 */
static void lt_servo(int32_t off_us)
{
  int32_t step;
  int32_t da;

  lt_servo_in = off_us;

  /* ---- ① 频率修正：用相位偏差做积分，只动从板的 ARR --------------------------
     旧写法是 arr = 回归斜率 × 0.108 直接赋值。问题是回归斜率量的是"速率差
     被相位环路抵掉之后剩下的残余"——相位环路一开始工作，这个斜率就趋近 0，
     arr 也随之退回 0，速率修正永远锁不住。

     后果就是收敛快不了：频率差只能靠相位环路每 100ms 拨一次去硬扛，而相位
     环路（细跟踪增益 1/4、一拍延迟）对恒定漂移必然留下大约"4 倍每周期漂移量"
     的稳态滞后——漂移 10.5ppm 时约 4us，冷启动漂移更大时就直接顶到 10us 以上。
     表现为"锁上一次又被拉出去"，要等回归窗口攒够、漂移估计变准才慢慢稳住，
     于是收敛时间被拖到几十秒。

     改成积分环节：只要相位还有偏差，就继续把 ARR 往"抵消漂移"的方向累加，
     直到漂移真的被抵消、相位偏差自己回到 0。三道闸：
       · 只在相位基本拉回（|off| <= LT_ARR_INT_RANGE_US）之后才累加，避免
         粗捕获阶段那几百毫秒的偏差把积分冲爆（饱和）；
       · 每拍最多动 LT_ARR_INT_STEP_MAX 计数，个别脏样本过不了闸；
       · 总量限幅 ±6000 计数（约 ±55ppm），防异常值把周期改坏。

     试过但已回退的改法（记录在此，避免重复走）：把积分改成"每 10 个干净样本
     结算一次（约 1 秒，与 ARR 预装载的生效节拍对齐）、用本秒平均偏差"。离散
     仿真预测稳态摆动会从 7.6us 降到 4.2us，但**实测 30 秒内都收敛不到 ±10us**，
     比按拍累加差，故回退。结论：这套执行机构（1 秒周期 + ARR 预装载）上，
     按拍累加这组参数（增益 50、每拍 170、门限 25us）就是现场验证过能达标的点。

     总量限幅 ±2000 计数（约 ±18.5ppm）：它本来只是"防异常值把周期改坏"的兜底，
     但如果两板冷启动频差超过 18.5ppm，它就会把频率环路卡住——速率差纠不干净，
     相位环路只能长期背着它，稳态滞后顶在 10us 以上（离散仿真：频差 40ppm、
     限幅 ±2000 时 90 秒内都没进过 ±10us 带）。现场实测过把它放开到 ±6000，
     收敛时间没有变化，说明本机两板冷启动频差没超过 ±18.5ppm，于是按原设计
     保留 ±2000。真正的保护是上面那两道闸（每拍限速 + 相位拉回后才累加）。 */
  if ((off_us <= LT_ARR_INT_RANGE_US) && (off_us >= -LT_ARR_INT_RANGE_US))
  {
    da = off_us * LT_ARR_INT_GAIN;
    if (da >  LT_ARR_INT_STEP_MAX) { da =  LT_ARR_INT_STEP_MAX; }
    if (da < -LT_ARR_INT_STEP_MAX) { da = -LT_ARR_INT_STEP_MAX; }
    lt_arr_delta += da;
  }

  if (lt_arr_delta >  2000) { lt_arr_delta =  2000; }   /* 约 ±18.5ppm，见上面的说明 */
  if (lt_arr_delta < -2000) { lt_arr_delta = -2000; }

  TIM5->ARR = (uint32_t)((int64_t)lt_arr_nominal + lt_arr_delta);
  /* Auto-reload preload 已打开，下一个周期边界才生效 */

  /* ---- ② 相位修正 ---- */
  if ((off_us > 1000) || (off_us < -1000))
  {
    step = off_us;          /* 粗捕获：一次拨到底，几百毫秒就拉平 */
  }
  else if ((off_us > 1) || (off_us < -1))
  {
    /* 细跟踪：只拨四分之一。
       增益为 1（一次拨到位）配 100ms 采样和一拍延迟时，环路是临界稳定的，
       偏移会在 0 和 ±偏值之间来回摆；降到 1/4 才能收敛。 */
    step = off_us / 4;
  }
  else
  {
    step = 0;               /* 死区：偏到 1us 以内就不再动，保持脉冲干净 */
  }

  /* 检测窗口内不拨 CNT：伺服是直接改写 TIM5->CNT 的，若这一拨正好落在麦克风的
     采样窗口里，窗口后半段的样本时间戳会整体偏掉一个拨动量（最多几百微秒）。
     频率修正（改 ARR）不受影响，它不动 CNT。稳态下死区本来就让它多数时候不拨，
     这道闸只为挡住冷启动和被串口扰动之后的那几次大拨动。 */
  if ((step != 0) && (mic_quiet_ok() == 0u))
  {
    step = 0;
  }

  if (step != 0)
  {
    uint64_t before = lt_now_us();
    lt_adjust_local_time(step);
    /* 诊断：拨动后本地时间应恰好前移 step 微秒（再加执行本身的几微秒） */
    lt_step_effect = (int32_t)((int64_t)lt_now_us() - (int64_t)before);
    lt_phase_total_us += step;
  }
}

/* ---- 收敛判定 --------------------------------------------------------------
   任务书要求：上电后 30 秒内，两板收敛到统一时间基准，且偏差不大于 ±10us。

   判据量取的就是伺服自己的误差信号：
       err = off_clean - LT_OFF_CAL_US
   它与伺服的死区、拨动方向共用同一个量（也就是串口里的 sv），
   判定门槛不会和环路目标打架；由标定关系「实际间距 = 读数 - 标定值」，
   它同时也是两板脉冲实际间距的估计值。

   只在"干净样本"上判定：被调度或打印扰动过的样本，其 off 可能偏出上百微秒，
   拿它判定会把已经收敛的系统误判成"未收敛"（这是 E4/E5 那类错误的翻版）。
   -------------------------------------------------------------------------- */
static void lt_conv_push(int32_t off_us)
{
  int32_t err;

  if (lt_conv_ok != 0U)
  {
    return;                          /* 已收敛，耗时不更新，保持首次收敛值 */
  }

  err = off_us - LT_OFF_CAL_US;

  if ((err <= LT_CONV_BAND_US) && (err >= -LT_CONV_BAND_US))
  {
    if (lt_conv_streak == 0U)
    {
      /* 本段稳定期从这一拍开始：两板就是在这里真正收敛到 ±10us 以内的 */
      lt_conv_t_first_ms = HAL_GetTick();
    }
    lt_conv_streak++;

    /* 两个条件同时满足才算真收敛：样本够多，且稳定期够长 */
    if ((lt_conv_streak >= LT_CONV_MIN_SAMP) &&
        ((HAL_GetTick() - lt_conv_t_first_ms) >= LT_CONV_HOLD_MS))
    {
      lt_conv_ok = 1U;
      /* 冻结收敛用时：主数从"通信建立"算起，另一个从"本板上电"算起 */
      lt_conv_ms_comm = lt_conv_t_first_ms - lt_conv_comm_ms;
      lt_conv_ms_pwr  = lt_conv_t_first_ms - lt_conv_boot_ms;
    }
  }
  else
  {
    lt_conv_streak = 0U;             /* 只要有一次出带，稳定期重新开始 */
  }
}

/* 收敛成功后在串口上打一行收敛用时（单位：秒），只打一次。 */
static void lt_conv_report(void)
{
  if ((lt_conv_ok == 0U) || (lt_conv_announced != 0U))
  {
    return;   /* 还没收敛，或者已经报过一次了 */
  }

  lt_conv_announced = 1U;
  lt_log("[LT] CONVERGED / 收敛成功: 链路->收敛 %lu.%02lu s | 上电->链路 %lu.%02lu s | 上电->收敛 %lu.%02lu s\r\n",
         (unsigned long)(lt_conv_ms_comm / 1000U),
         (unsigned long)((lt_conv_ms_comm % 1000U) / 10U),
         (unsigned long)((lt_conv_comm_ms - lt_conv_boot_ms) / 1000U),
         (unsigned long)(((lt_conv_comm_ms - lt_conv_boot_ms) % 1000U) / 10U),
         (unsigned long)(lt_conv_ms_pwr / 1000U),
         (unsigned long)((lt_conv_ms_pwr % 1000U) / 10U));
}

/* 把一次测量结果放进窗口，并重新算一次回归 */
static void lt_push_sample(int32_t off_us, uint32_t dly_us, uint32_t t_ms)
{
  uint32_t i;

  if (lt_s_cnt >= LT_MAX_SAMPLES)
  {
    for (i = 1U; i < LT_MAX_SAMPLES; i++)
    {
      lt_s_off[i - 1U] = lt_s_off[i];
      lt_s_dly[i - 1U] = lt_s_dly[i];
      lt_s_t[i - 1U]   = lt_s_t[i];
    }
    lt_s_cnt = LT_MAX_SAMPLES - 1U;
  }

  lt_s_off[lt_s_cnt] = off_us;
  lt_s_dly[lt_s_cnt] = dly_us;
  lt_s_t[lt_s_cnt]   = t_ms;
  lt_s_cnt++;

  lt_mes_ok++;
  lt_cur_off_us = off_us;
  lt_cur_dly_us = dly_us;

  lt_run_regression();
}

/* 对窗口内的样本做线性回归 off = a + b*t，斜率 b 就是频率差。
   b 的单位是"每毫秒偏移多少微秒"，乘 1e6 换算成 ppb。
   时刻和偏移都先减去第一个样本的值，避免大数相减丢精度。 */
static void lt_run_regression(void)
{
  uint32_t i;
  uint32_t dmin;
  uint32_t used = 0U;
  int64_t  st = 0, so = 0, stt = 0, sto = 0;
  int32_t  o0;
  uint32_t t0;

  /* 先找窗口内最小的往返时延。时延最小的样本说明报文没被排队、中断来得快，
     时间戳打得最干净——按它筛选是压制抖动最有效的一招。

     注意这一步必须**从第一个样本就开始做**（不能等攒够 8 个样本）。原来放在
     样本数判断之后，等于开头 0.8 秒既没有质量筛选、伺服也不敢动手，白等近
     一秒才进入收敛过程；而 dmin 是"窗口内最小值"，脏样本只会把它抬高到真实
     地板，脏样本自己过不了 dly <= dmin+20 这一关，所以早算不会误判。 */
  dmin = lt_s_dly[0];
  for (i = 1U; i < lt_s_cnt; i++)
  {
    if (lt_s_dly[i] < dmin)
    {
      dmin = lt_s_dly[i];
    }
  }
  lt_min_dly_us = (int32_t)dmin;

  if (lt_s_cnt < 8U)
  {
    lt_win_cnt   = lt_s_cnt;
    lt_slope_ppb = 0;
    return;
  }

  /* 参考点取"最新一个样本"，不取最老的那个：上电瞬间那几百毫秒量级的大偏差
     样本还要在窗口里待够 512 拍（约 51 秒）才会被挤出去，如果拿它们当基准，
     整条序列都会跟着偏，回归出来的斜率会大到离谱（dfreq 显示成几十上百 ppm）。
     参考点取最新样本、再配上下面"偏差超过 ±1ms 就丢掉"的筛子，这些启动
     瞬态的样本就进不了回归。 */
  o0 = lt_s_off[lt_s_cnt - 1U];
  t0 = lt_s_t[lt_s_cnt - 1U];

  for (i = 0U; i < lt_s_cnt; i++)
  {
    int64_t dt;

    if (lt_s_dly[i] > (dmin + LT_DELAY_MARGIN_US))
    {
      continue;   /* 被排队延迟过的样本，丢掉 */
    }

    if ((lt_s_off[i] - o0 > 1000) || (o0 - lt_s_off[i] > 1000))
    {
      continue;   /* 上电瞬态的大偏差点，不代表速率差，丢掉 */
    }

    dt   = (int64_t)(lt_s_t[i] - t0);
    st  += dt;
    so  += (int64_t)(lt_s_off[i] - o0);
    stt += dt * dt;
    sto += dt * (int64_t)(lt_s_off[i] - o0);
    used++;
  }

  lt_win_cnt = used;
  if (used < 8U)
  {
    return;
  }

  {
    int64_t num = ((int64_t)used * sto) - (st * so);
    int64_t den = ((int64_t)used * stt) - (st * st);
    if (den != 0)
    {
      lt_slope_ppb = (int32_t)((num * 1000000LL) / den);
    }
  }
}

/* 发送任务：主板每 100ms 发起一次测量；同时负责周期打印统计 */
static void lt_tx_task(void *argument)
{
  lt_msg_t m;
  uint32_t last_report = 0U;
  uint32_t now;

  (void)argument;

  for (;;)
  {
    /* 链路建立时刻只报一次：把"上电 -> 链路建立 -> 时钟收敛"三段拆开。
       如果收敛慢，先看这一行——链路很晚才建立，那时间就花在等对方上电 /
       PHY 自协商 / 交换机 STP 上，跟同步算法无关。 */
    if ((lt_link_announced == 0U) && (netif_is_link_up(&gnetif) != 0))
    {
      uint32_t t_link = HAL_GetTick() - lt_conv_boot_ms;

      lt_link_announced = 1U;
      lt_log("[LT] LINK UP at %lu.%02lu s (自本板上电)\r\n",
             (unsigned long)(t_link / 1000U),
             (unsigned long)((t_link % 1000U) / 10U));
    }

    if (lt_is_master != 0U)
    {
      lt_seq++;
      memset(&m, 0, sizeof(m));
      m.type = LT_MSG_SYNC;
      m.seq  = lt_seq;
      m.t1   = (uint32_t)lt_now_us();   /* 发 SYNC 的时刻（主板时钟）*/
      lt_t1  = m.t1;
      (void)lwip_sendto(lt_sock, &m, sizeof(m), 0U,
                        (struct sockaddr *)&lt_peer, sizeof(lt_peer));
    }

    /* 收敛成功后在串口上补一行收敛用时。放在打印任务里，不塞进接收任务。 */
    lt_conv_report();

    now = osKernelGetTickCount();
    if ((now - last_report) >= LT_REPORT_PERIOD_MS)
    {
      last_report = now;
      lt_log("[LT] SAMP dlm %lu skp %lu | reg %lu/%lu\r\n",
             (unsigned long)lt_dly_from_master,
             (unsigned long)lt_servo_skip,
             (unsigned long)TIM5->ARR,
             (unsigned long)TIM5->CCR4);
      lt_log("[LT] %s | ok %lu bad %lu | off %ld us | dly %lu us | dmin %ld us | dfreq %ld ppb | arr %ld | ph %ld | offm %ld | sv %ld | ste %ld | win %lu\r\n",
             (lt_is_master != 0U) ? "MASTER" : "SLAVE ",
             (unsigned long)lt_mes_ok,
             (unsigned long)lt_mes_bad,
             (long)lt_off_clean,
             (unsigned long)lt_cur_dly_us,
             (long)lt_min_dly_us,
             (long)lt_slope_ppb,
             (long)lt_arr_delta,
             (long)lt_phase_total_us,
             (long)lt_off_from_master,
             (long)lt_servo_in,
             (long)lt_step_effect,
             (unsigned long)lt_win_cnt);
      lt_log("[LT] RAW seq %lu t1 %lu t2 %lu t3 %lu t4 %lu | frames %lu msgs %lu | reg %lu/%lu\r\n",
             (unsigned long)lt_dbg_seq,
             (unsigned long)lt_dbg_t1,
             (unsigned long)lt_dbg_t2,
             (unsigned long)lt_dbg_t3,
             (unsigned long)lt_dbg_t4,
             (unsigned long)lt_rx_frames,
             (unsigned long)lt_rx_msgs,
             (unsigned long)TIM5->ARR,
             (unsigned long)TIM5->CCR4);
    }

    osDelay(LT_SYNC_PERIOD_MS);
  }
}

/* 接收任务：处理三种报文。收包时刻已经在以太网中断里打好。 */
static void lt_rx_task(void *argument)
{
  lt_msg_t m, r;
  struct sockaddr_in from;
  socklen_t fromlen;
  int n;
  uint32_t t_rx;
  int32_t  off;
  uint32_t dly;

  (void)argument;

  for (;;)
  {
    fromlen = sizeof(from);
    n = lwip_recvfrom(lt_sock, &m, sizeof(m), 0U,
                      (struct sockaddr *)&from, &fromlen);

    /* 中断里刚打下的收包时刻，越早读越好 */
    t_rx = lt_rx_stamp;

    if ((n != (int)sizeof(m)) || (m.type == 0U))
    {
      continue;
    }
    lt_rx_msgs++;

    /* 记下"通信建立"的时刻：第一次收到对方的有效报文。
       链路没起来之前报文根本发不出去，所以这一刻近似等于两块板都能通上话
       的时刻，两块板量到的起点是同一件事（相差不到一个同步周期）。 */
    if ((lt_conv_comm_up == 0U) &&
        (m.type >= LT_MSG_SYNC) && (m.type <= LT_MSG_DRESP))
    {
      lt_conv_comm_up = 1U;
      lt_conv_comm_ms = HAL_GetTick();
    }

    if (m.type == LT_MSG_SYNC)
    {
      /* 从板：记下 t2、t3，立刻回 DREQ */
      if (lt_is_master != 0U)
      {
        continue;
      }
      lt_cur_seq = m.seq;
      lt_t1 = m.t1;
      lt_t2 = t_rx;
      lt_t3 = (uint32_t)lt_now_us();

      memset(&r, 0, sizeof(r));
      r.type = LT_MSG_DREQ;
      r.seq  = m.seq;
      r.t2   = lt_t2;
      r.t3   = lt_t3;
      (void)lwip_sendto(lt_sock, &r, sizeof(r), 0U,
                        (struct sockaddr *)&from, sizeof(from));
    }
    else if (m.type == LT_MSG_DREQ)
    {
      /* 主板：t1 是本地存的、t4 是刚打的时间戳，它也算一遍用于显示 */
      if (lt_is_master == 0U)
      {
        continue;
      }
      off = ((int32_t)(m.t2 - lt_t1) - (int32_t)(t_rx - m.t3)) / 2;
      dly = (t_rx - lt_t1) - (m.t3 - m.t2);
      lt_push_sample(off, dly, (uint32_t)(lt_now_us() / 1000ULL));

      if (dly <= ((uint32_t)lt_min_dly_us + LT_DLY_ACCEPT_US))
      {
        lt_off_clean = off;
        lt_conv_push(off);           /* 只用干净样本判定收敛 */
      }

      lt_dbg_seq = m.seq;
      lt_dbg_t1  = lt_t1;
      lt_dbg_t2  = m.t2;
      lt_dbg_t3  = m.t3;
      lt_dbg_t4  = t_rx;

      memset(&r, 0, sizeof(r));
      r.type = LT_MSG_DRESP;
      r.seq  = m.seq;
      r.t1   = lt_t1;
      r.t4   = t_rx;
      r.dly_m = dly;
      r.off_m = off;      /* 把主板算出的偏移带给从板 */
      (void)lwip_sendto(lt_sock, &r, sizeof(r), 0U,
                        (struct sockaddr *)&from, sizeof(from));
    }
    else if (m.type == LT_MSG_DRESP)
    {
      /* 从板：现在凑齐 t1..t4 */
      if (lt_is_master != 0U)
      {
        continue;
      }
      if (m.seq != lt_cur_seq)
      {
        lt_mes_bad++;   /* 序号对不上（极少见），丢弃这次 */
        continue;
      }
      off = ((int32_t)(lt_t2 - lt_t1) - (int32_t)(m.t4 - lt_t3)) / 2;
      dly = (m.t4 - lt_t1) - (lt_t3 - lt_t2);
      lt_push_sample(off, dly, (uint32_t)(lt_now_us() / 1000ULL));

      /* 从板自己算的偏移带一个固定偏差（实测约 90us），拿它伺服会把时钟
         锁到错误的位置。偏移是同一个物理量，主板算得干净，就用主板的。 */
      lt_off_from_master = m.off_m;
      lt_dly_from_master = m.dly_m;
#if LT_NUDGE_TEST
      {
        static uint32_t s_last_ms = 0U;
        uint32_t now_ms = (uint32_t)(lt_now_us() / 1000ULL);
        if ((now_ms - s_last_ms) >= 10000U)
        {
          s_last_ms = now_ms;
          lt_adjust_local_time(100);
          lt_phase_total_us += 100;
        }
      }
#else
      if (m.dly_m <= ((uint32_t)lt_min_dly_us + LT_DLY_ACCEPT_US))
      {
        lt_off_clean = m.off_m;
        lt_conv_push(m.off_m);       /* 同上：脏样本不参与收敛判定 */
        lt_servo(m.off_m - LT_OFF_CAL_US);
      }
      else
      {
        lt_servo_skip++;
      }
#endif

      lt_dbg_seq = m.seq;
      lt_dbg_t1  = lt_t1;
      lt_dbg_t2  = lt_t2;
      lt_dbg_t3  = lt_t3;
      lt_dbg_t4  = m.t4;
    }
    else
    {
      lt_mes_bad++;
    }
  }
}

/* 建 socket、绑定端口、起收发两个任务 */
static void lt_start(void)
{
  struct sockaddr_in localaddr;
  uint32_t peer_last;

  lt_sock = lwip_socket(AF_INET, SOCK_DGRAM, 0);
  if (lt_sock < 0)
  {
    lt_log("[LT] socket() failed (%d)\r\n", lt_sock);
    return;
  }

  memset(&localaddr, 0, sizeof(localaddr));
  localaddr.sin_family = AF_INET;
  localaddr.sin_port = htons(LT_PORT);
  localaddr.sin_addr.s_addr = htonl(0U);   /* 0.0.0.0：接受本机任意地址的报文 */

  if (lwip_bind(lt_sock, (struct sockaddr *)&localaddr, sizeof(localaddr)) < 0)
  {
    lt_log("[LT] bind(port %u) failed\r\n", (unsigned)LT_PORT);
    (void)lwip_close(lt_sock);
    lt_sock = -1;
    return;
  }

  memset(&lt_peer, 0, sizeof(lt_peer));
  lt_peer.sin_family = AF_INET;
  lt_peer.sin_port = htons(LT_PORT);
  /* 对端就是同一网段里的另一块板：本板 .10 指向 .11，本板 .11 指向 .10 */
  peer_last = (IP_ADDRESS[3] == 10U) ? 11U : 10U;
  /* 角色：IP 小的是主板，它的时钟就是全系统的时间基准，永远不调整 */
  lt_is_master = (IP_ADDRESS[3] == 10U) ? 1U : 0U;
  /* 记住名义 ARR，伺服就是在这个值上加减计数来做频率修正的 */
  lt_arr_nominal = TIM5->ARR;
  lt_peer.sin_addr.s_addr = htonl(((uint32_t)192U << 24) |
                                  ((uint32_t)168U << 16) |
                                  ((uint32_t)1U   <<  8) |
                                  peer_last);

  lt_log("\r\n[LT] sync start: local %u.%u.%u.%u:%u -> peer 192.168.1.%u:%u\r\n",
         (unsigned)IP_ADDRESS[0], (unsigned)IP_ADDRESS[1],
         (unsigned)IP_ADDRESS[2], (unsigned)IP_ADDRESS[3],
         (unsigned)LT_PORT, (unsigned)peer_last, (unsigned)LT_PORT);
  lt_log("[LT] role: %s | 发起周期 %u ms | 回归窗口 %u 样本\r\n",
         (lt_is_master != 0U) ? "MASTER (时间基准)" : "SLAVE  (跟随主板)",
         (unsigned)LT_SYNC_PERIOD_MS, (unsigned)LT_MAX_SAMPLES);
  lt_log("[LT] time base: %lu counts/s, %lu counts/us, PPS on PI0 (Arduino D5)\r\n",
         (unsigned long)lt_counts_per_sec(), (unsigned long)lt_counts_per_us());
  /* 一次性回读关键寄存器：用来判断 PWM 到底有没有配置成功。
     期望值 CEN=1 CC4E=1 OC4M=6 (PWM1) MODER=2 (复用) AFR=2 (AF2) */
  lt_log("[LT] TIM5 chk: CEN=%u CC4E=%u OC4M=%u CCR4=%lu ARR=%lu\r\n",
         (unsigned)((TIM5->CR1  & TIM_CR1_CEN)     ? 1U : 0U),
         (unsigned)((TIM5->CCER & TIM_CCER_CC4E)   ? 1U : 0U),
         (unsigned)((TIM5->CCMR2 >> 12) & 0x7UL),   /* OC4M 在 CCMR2 的 [14:12] */
         (unsigned long)TIM5->CCR4,
         (unsigned long)TIM5->ARR);
  lt_log("[LT] PI0 chk: MODER=%lu AFR=%lu\r\n",
         (unsigned long)((GPIOI->MODER  >>  0) & 0x3UL),
         (unsigned long)((GPIOI->AFR[0] >>  0) & 0xFUL));

  (void)osThreadNew(lt_tx_task, NULL, &lt_tx_attr);
  (void)osThreadNew(lt_rx_task, NULL, &lt_rx_attr);
}

/* USER CODE END Application */
